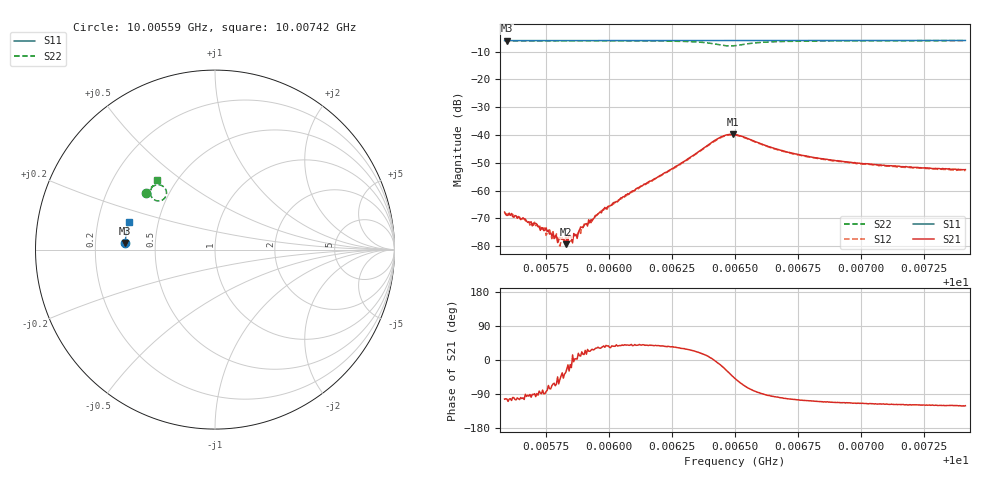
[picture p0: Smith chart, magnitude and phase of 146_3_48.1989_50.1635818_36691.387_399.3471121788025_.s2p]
#  HZ  S  RI  R  50.00
! Rohde & Schwarz Vector Network Analyzer
! Rohde-Schwarz,ZNB20-2Port,1311601062101988,3.16
! Created: UTC 3/20/2024, 11:42:38 AM
! freq[Hz]  re:S11  im:S11  re:S21  im:S21  re:S12  im:S12  re:S22  im:S22
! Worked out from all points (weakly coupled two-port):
!   401 points, 10.00559 GHz to 10.00742 GHz, reference 50 ohm
!   highest |S21| = -39.75 dB at 10.00649 GHz (marker M1); lowest = -79.4 dB at 10.00583 GHz (marker M2)
!   lowest |S11| = -6.0 dB at 10.0056 GHz (marker M3), VSWR 3.01, Z = 16.7 + j1.61 ohm
!   |S11| at or under -10 dB: nowhere
!   |S22| runs from -7.9 to -6.0 dB; largest |S21 - S12| = 0.00062
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1.0005586e10  -0.4995 0.0356  -9.34e-05 -0.000398  -8.18e-05 -0.000387  -0.3862 0.3126
1.0005595e10  -0.4994 0.0363  -8.14e-05 -0.000347  -4.74e-05 -0.000372  -0.3859 0.3132
1.0005714e10  -0.4991 0.0441  5.92e-06 -0.000248  6.43e-06 -0.000238  -0.3803 0.3204
1.0005746e10  -0.4989 0.0462  4.67e-06 -0.000192  4.05e-05 -0.000206  -0.3788 0.3224
1.0005787e10  -0.4988 0.0488  5.77e-05 -0.000142  5.96e-05 -0.000129  -0.3766 0.325
1.0005806e10  -0.4988 0.0499  8.99e-05 -0.000112  7.64e-05 -6.39e-05  -0.3756 0.326
1.0005824e10  -0.4987 0.0512  0.000102 -7.77e-05  9.16e-05 -8.38e-05  -0.3745 0.3273
1.0005829e10  -0.4986 0.0513  8.97e-05 -5.88e-05  0.00013 -5.97e-05  -0.3744 0.3276
1.0005842e10  -0.4986 0.0523  0.00014 -7.76e-05  0.000111 -3.66e-05  -0.3735 0.3284
1.0005847e10  -0.4984 0.0526  0.000152 -3.21e-05  0.000124 -4.06e-06  -0.3733 0.3288
1.0005865e10  -0.4984 0.0538  0.000153 9e-06  0.00016 6.09e-06  -0.3721 0.3301
1.0005893e10  -0.4982 0.0557  0.000202 8e-05  0.000207 8.51e-05  -0.3706 0.3318
1.000597e10  -0.4979 0.0606  0.000334 0.000213  0.000356 0.00024  -0.3658 0.337
1.0006067e10  -0.4972 0.0669  0.000643 0.000532  0.000582 0.000525  -0.3583 0.3437
1.0006199e10  -0.4962 0.0756  0.00143 0.0011  0.00138 0.00111  -0.344 0.3539
1.0006433e10  -0.4935 0.0904  0.0085 -0.00109  0.00837 -0.000603  -0.2718 0.3284
1.0006492e10  -0.4928 0.0936  0.00749 -0.00706  0.00768 -0.00651  -0.2925 0.2769
1.0006501e10  -0.4928 0.094  0.00668 -0.00767  0.00691 -0.00715  -0.3009 0.2732
1.000667e10  -0.4918 0.1049  -0.000781 -0.00545  -0.000521 -0.00538  -0.3599 0.3189
1.0006808e10  -0.4901 0.1138  -0.00123 -0.00378  -0.00106 -0.00377  -0.3543 0.3421
1.0007114e10  -0.4859 0.1332  -0.00128 -0.00249  -0.00111 -0.00251  -0.3372 0.368
1.0007416e10  -0.481 0.152  -0.00121 -0.00205  -0.00106 -0.00203  -0.321 0.3852
